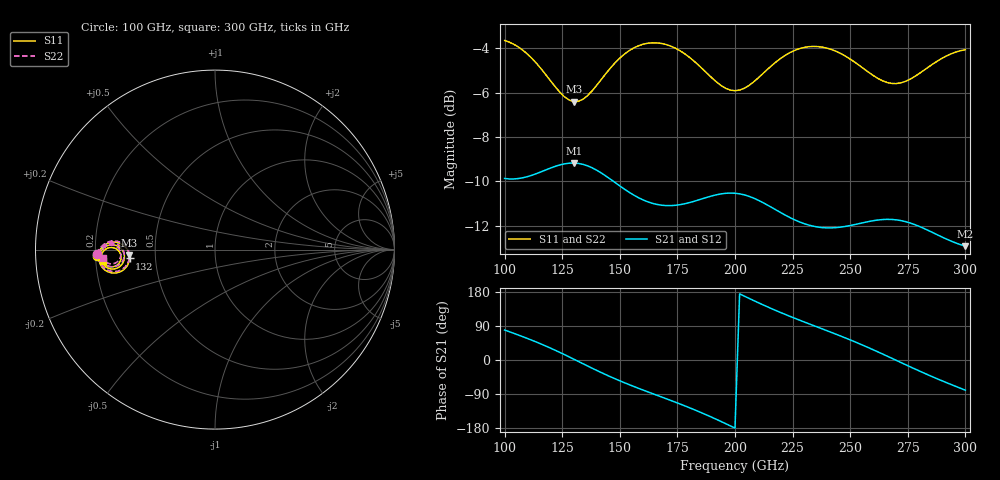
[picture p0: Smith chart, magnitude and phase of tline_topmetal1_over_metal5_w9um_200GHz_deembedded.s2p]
! Created with skrf 2.0.1 (http://scikit-rf.org).
# GHz S DB R 50.0
!freq dBS11 angS11 dBS21 angS21 dBS12 angS12 dBS22 angS22
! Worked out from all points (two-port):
!   101 points, 100 GHz to 300 GHz, reference 50 ohm
!   highest |S21| = -9.17 dB at 130 GHz (marker M1); lowest = -12.9 dB at 300 GHz (marker M2)
!   |S21| within 3 dB of the highest: start of sweep to 283.2 GHz
!   lowest |S11| = -6.4 dB at 130 GHz (marker M3), VSWR 2.83, Z = 17.7 - j1.43 ohm
!   |S11| at or under -10 dB: nowhere
!   |S22| runs from -6.4 to -3.7 dB; largest |S21 - S12| = 4e-14
!   S11 on the Smith chart (normalised r, x): 100 GHz: 0.21, -0.02; 132 GHz: 0.35, -0.05; 300 GHz: 0.23, -0.05
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100  -3.66 -177.1  -9.87 79.1  -9.87 79.1  -3.66 -177.7
116  -4.95 175.8  -9.56 41.8  -9.56 41.8  -4.95 175.1
124  -5.99 178.1  -9.26 20.0  -9.26 20.0  -5.99 177.4
130  -6.41 -176.3  -9.17 2.3  -9.17 2.3  -6.41 -177.0
132  -6.40 -174.1  -9.19 -3.7  -9.19 -3.7  -6.40 -174.8
134  -6.30 -172.0  -9.23 -9.8  -9.23 -9.8  -6.30 -172.7
142  -5.41 -166.9  -9.62 -33.3  -9.62 -33.3  -5.40 -167.8
150  -4.45 -167.7  -10.20 -54.9  -10.20 -54.9  -4.45 -168.6
160  -3.83 -172.5  -10.83 -79.1  -10.83 -79.1  -3.83 -173.4
168  -3.79 -176.9  -11.07 -97.3  -11.07 -97.3  -3.79 -177.8
184  -4.75 177.3  -10.84 -135.4  -10.84 -135.4  -4.75 176.3
192  -5.53 178.8  -10.60 -156.8  -10.60 -156.8  -5.53 177.7
200  -5.92 -175.9  -10.53 -179.7  -10.53 -179.7  -5.92 -177.0
208  -5.53 -170.6  -10.75 157.2  -10.75 157.2  -5.53 -171.8
216  -4.78 -169.2  -11.18 135.2  -11.18 135.2  -4.78 -170.4
224  -4.20 -171.1  -11.63 114.9  -11.63 114.9  -4.19 -172.4
234  -3.92 -175.3  -12.02 91.1  -12.02 91.1  -3.92 -176.6
252  -4.63 178.9  -11.94 48.0  -11.94 48.0  -4.63 177.5
268  -5.59 -176.5  -11.71 4.7  -11.71 4.7  -5.58 -178.1
276  -5.40 -172.3  -11.87 -17.9  -11.87 -17.9  -5.39 -173.8
284  -4.85 -170.5  -12.21 -39.7  -12.21 -39.7  -4.84 -172.1
300  -4.07 -173.9  -12.91 -79.7  -12.91 -79.7  -4.06 -175.6
